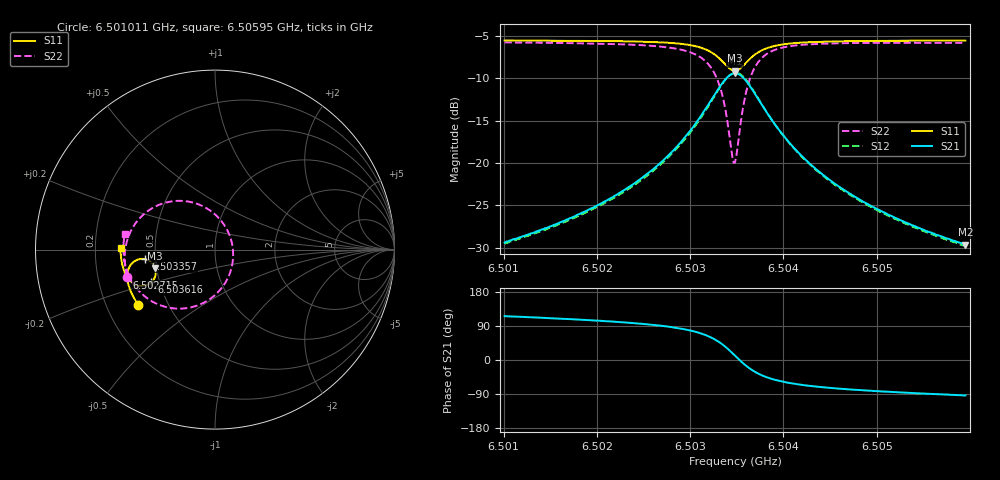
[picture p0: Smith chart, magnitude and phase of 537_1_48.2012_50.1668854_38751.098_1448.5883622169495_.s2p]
#  HZ  S  RI  R  50.00
! Rohde & Schwarz Vector Network Analyzer
! Rohde-Schwarz,ZNB20-2Port,1311601062101988,3.16
! Created: UTC 3/20/2024, 12:00:07 PM
! freq[Hz]  re:S11  im:S11  re:S21  im:S21  re:S12  im:S12  re:S22  im:S22
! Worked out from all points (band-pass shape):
!   401 points, 6.501011 GHz to 6.50595 GHz, reference 50 ohm
!   highest |S21| = -9.44 dB at 6.50348 GHz (marker M1); lowest = -29.6 dB at 6.50595 GHz (marker M2)
!   |S21| within 3 dB of the highest: 6.503234 GHz to 6.503728 GHz (493.9 kHz wide, 0.00759 % of centre)
!   lowest |S11| = -9.1 dB at 6.50348 GHz (marker M3), VSWR 2.07, Z = 24.5 - j5.84 ohm
!   |S11| at or under -10 dB: nowhere
!   |S22| runs from -20.0 to -5.8 dB; largest |S21 - S12| = 0.011
!   S11 on the Smith chart (normalised r, x): 6.501011 GHz: 0.34, -0.29; 6.502715 GHz: 0.33, -0.14; 6.503357 GHz: 0.44, -0.06; 6.503616 GHz: 0.45, -0.19; 6.50595 GHz: 0.31, +0.01
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6.5010106e9  -0.4287 -0.3067  -0.0148 0.0306  -0.0132 0.0308  -0.4909 -0.1501
6.501838e9  -0.464 -0.245  -0.0142 0.0489  -0.0117 0.0483  -0.5033 -0.0614
6.5022825e9  -0.4796 -0.2053  -0.0111 0.0677  -0.00837 0.0667  -0.5 0.00238
6.5026653e9  -0.4884 -0.1626  -0.00183 0.0984  0.00163 0.0961  -0.4794 0.08
6.5027147e9  -0.4889 -0.1558  0.000742 0.1041  0.0042 0.1016  -0.4741 0.0928
6.5029494e9  -0.4857 -0.1191  0.0232 0.1408  0.0268 0.1366  -0.4269 0.1668
6.5031099e9  -0.4712 -0.0869  0.0623 0.1768  0.065 0.1712  -0.3511 0.2302
6.5032581e9  -0.4337 -0.0572  0.1434 0.2056  0.144 0.1997  -0.2033 0.2718
6.5033569e9  -0.3874 -0.0538  0.2344 0.1896  0.2345 0.1853  -0.0458 0.2298
6.5034433e9  -0.3446 -0.0826  0.3127 0.1157  0.3153 0.1122  0.0793 0.0845
6.503468e9  -0.3364 -0.0968  0.3264 0.084  0.3296 0.0798  0.0967 0.0249
6.5034804e9  -0.3336 -0.1046  0.3306 0.0671  0.3344 0.0625  0.1006 -0.00646
6.503505e9  -0.3304 -0.1208  0.3343 0.0327  0.3384 0.0265  0.0985 -0.0695
6.5035421e9  -0.3324 -0.1447  0.3273 -0.0175  0.3311 -0.0256  0.0718 -0.1584
6.5036162e9  -0.3545 -0.1819  0.2811 -0.0939  0.2813 -0.1048  -0.0374 -0.2816
6.503715e9  -0.3953 -0.2014  0.2031 -0.1374  0.1986 -0.1473  -0.1961 -0.3289
6.5038755e9  -0.4445 -0.1939  0.1151 -0.1371  0.1084 -0.1426  -0.356 -0.2855
6.5040484e9  -0.4737 -0.1727  0.0674 -0.1163  0.0612 -0.1189  -0.4335 -0.2186
6.5043077e9  -0.4962 -0.1413  0.0345 -0.0899  0.0299 -0.0903  -0.4813 -0.1409
6.5046535e9  -0.5112 -0.1047  0.0159 -0.0672  0.0126 -0.0669  -0.5033 -0.0696
6.5051351e9  -0.5214 -0.0596  0.00519 -0.049  0.00305 -0.0484  -0.5105 0.000244
6.5059501e9  -0.5265 0.00978  -0.00195 -0.033  -0.00328 -0.0322  -0.503 0.0876
